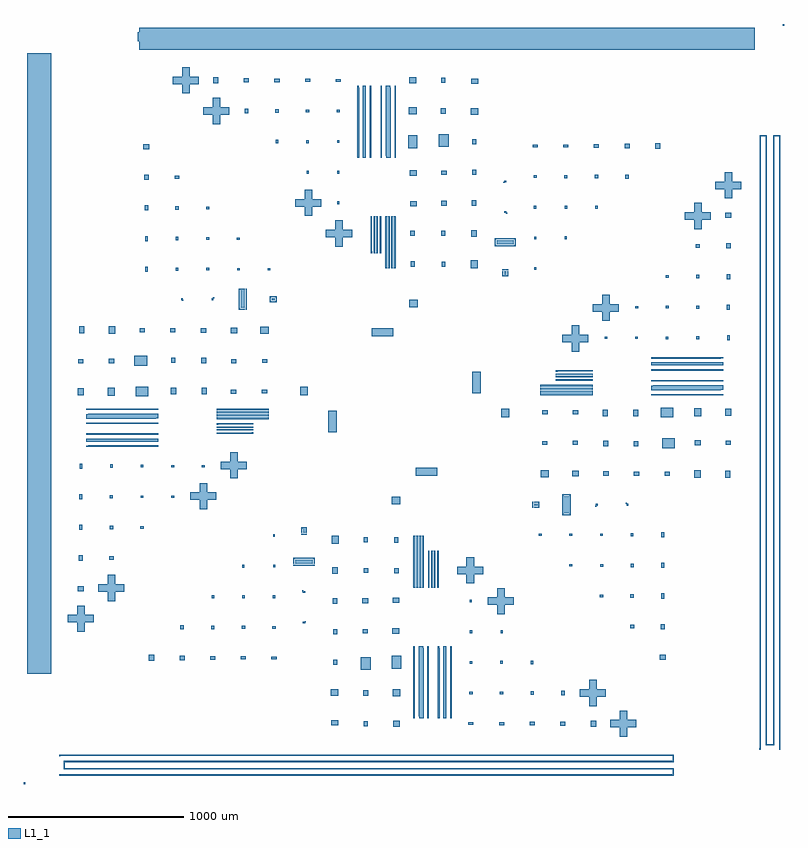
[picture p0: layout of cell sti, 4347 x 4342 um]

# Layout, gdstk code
import gdstk
lib = gdstk.Library(unit=1e-6, precision=1e-09)
def R(c, l, rs):  # rectangles x0, y0, x1, y1
    for r in rs: c.add(gdstk.rectangle(r[:2], r[2:], *l))
def A(c, l, x, y, w, h, nx, ny, dx, dy):  # array of equal rectangles
    R(c, l, [(x+i*dx, y+j*dy, x+i*dx+w, y+j*dy+h) for i in range(nx) for j in range(ny)])
def P(c, l, *ps):  # polygons
    for p in ps: c.add(gdstk.Polygon(p, *l))
L1_1 = (1, 1)

sti = lib.new_cell('sti')
A(sti, L1_1, 2244.5, 355.5, 14, 15, 1, 25, 0, 16)
A(sti, L1_1, 2280.5, 355.5, 7, 15, 1, 25, 0, 16)
A(sti, L1_1, 2340.5, 355.5, 9.5, 15, 1, 25, 0, 16)
A(sti, L1_1, 2371.5, 355.5, 8, 15, 1, 25, 0, 16)
A(sti, L1_1, 2200.5, 367.5, 7, 15, 1, 25, 0, 16)
A(sti, L1_1, 2229.5, 367.5, 14, 15, 1, 25, 0, 16)
A(sti, L1_1, 2380.5, 367.5, 8, 15, 1, 25, 0, 16)
A(sti, L1_1, 2410, 367.5, 9.5, 15, 1, 25, 0, 16)
A(sti, L1_1, 2200.5, 1100.5, 10.5, 11, 1, 25, 0, 12)
A(sti, L1_1, 2216.5, 1100.5, 11, 11, 1, 25, 0, 12)
A(sti, L1_1, 2233.5, 1100.5, 11, 11, 1, 25, 0, 12)
A(sti, L1_1, 2250, 1100.5, 10.5, 11, 1, 25, 0, 12)
A(sti, L1_1, 2317, 1100.5, 8, 7, 1, 25, 0, 8)
A(sti, L1_1, 2337, 1100.5, 7, 7, 1, 25, 0, 8)
A(sti, L1_1, 2284, 1112.5, 7, 7, 1, 25, 0, 8)
A(sti, L1_1, 2303, 1112.5, 8, 7, 1, 25, 0, 8)
A(sti, L1_1, 342.5, 1905.5, 15, 9.5, 25, 1, 16, 0)
A(sti, L1_1, 342.5, 1936.5, 15, 8, 25, 1, 16, 0)
A(sti, L1_1, 330.5, 1945.5, 15, 8, 25, 1, 16, 0)
A(sti, L1_1, 330.5, 1975, 15, 9.5, 25, 1, 16, 0)
A(sti, L1_1, 1075.5, 1981, 7, 7, 25, 1, 8, 0)
A(sti, L1_1, 1075.5, 2000, 7, 8, 25, 1, 8, 0)
A(sti, L1_1, 1087.5, 2014, 7, 8, 25, 1, 8, 0)
A(sti, L1_1, 1087.5, 2034, 7, 7, 25, 1, 8, 0)
A(sti, L1_1, 330.5, 2037.5, 15, 7, 25, 1, 16, 0)
A(sti, L1_1, 1075.5, 2064.5, 11, 10.5, 25, 2, 12, 49.5)
A(sti, L1_1, 330.5, 2066.5, 15, 14, 25, 1, 16, 0)
A(sti, L1_1, 1075.5, 2080.5, 11, 11, 25, 2, 12, 17)
A(sti, L1_1, 342.5, 2081.5, 15, 14, 25, 1, 16, 0)
A(sti, L1_1, 342.5, 2117.5, 15, 7, 25, 1, 16, 0)
A(sti, L1_1, 2925.5, 2200.5, 11, 10.5, 25, 2, 12, 49.5)
A(sti, L1_1, 3558.5, 2200.5, 15, 7, 25, 1, 16, 0)
A(sti, L1_1, 2925.5, 2216.5, 11, 11, 25, 2, 12, 17)
A(sti, L1_1, 3558.5, 2229.5, 15, 14, 25, 1, 16, 0)
A(sti, L1_1, 3570.5, 2244.5, 15, 14, 25, 1, 16, 0)
A(sti, L1_1, 3570.5, 2280.5, 15, 7, 25, 1, 16, 0)
A(sti, L1_1, 3013.5, 2284, 7, 7, 25, 1, 8, 0)
A(sti, L1_1, 3013.5, 2303, 7, 8, 25, 1, 8, 0)
A(sti, L1_1, 3025.5, 2317, 7, 8, 25, 1, 8, 0)
A(sti, L1_1, 3025.5, 2337, 7, 7, 25, 1, 8, 0)
A(sti, L1_1, 3570.5, 2340.5, 15, 9.5, 25, 1, 16, 0)
A(sti, L1_1, 3570.5, 2371.5, 15, 8, 25, 1, 16, 0)
A(sti, L1_1, 3558.5, 2380.5, 15, 8, 25, 1, 16, 0)
A(sti, L1_1, 3558.5, 2410, 15, 9.5, 25, 1, 16, 0)
A(sti, L1_1, 2039.5, 2925.5, 10.5, 11, 1, 25, 0, 12)
A(sti, L1_1, 2055.5, 2925.5, 11, 11, 1, 25, 0, 12)
A(sti, L1_1, 2072.5, 2925.5, 11, 11, 1, 25, 0, 12)
A(sti, L1_1, 2089, 2925.5, 10.5, 11, 1, 25, 0, 12)
A(sti, L1_1, 1989, 3013.5, 8, 7, 1, 25, 0, 8)
A(sti, L1_1, 2009, 3013.5, 7, 7, 1, 25, 0, 8)
A(sti, L1_1, 1956, 3025.5, 7, 7, 1, 25, 0, 8)
A(sti, L1_1, 1975, 3025.5, 8, 7, 1, 25, 0, 8)
A(sti, L1_1, 1880.5, 3558.5, 9.5, 15, 1, 25, 0, 16)
A(sti, L1_1, 1911.5, 3558.5, 8, 15, 1, 25, 0, 16)
A(sti, L1_1, 2056.5, 3558.5, 14, 15, 1, 25, 0, 16)
A(sti, L1_1, 2092.5, 3558.5, 7, 15, 1, 25, 0, 16)
A(sti, L1_1, 1920.5, 3570.5, 8, 15, 1, 25, 0, 16)
A(sti, L1_1, 1950, 3570.5, 9.5, 15, 1, 25, 0, 16)
A(sti, L1_1, 2012.5, 3570.5, 7, 15, 1, 25, 0, 16)
A(sti, L1_1, 2041.5, 3570.5, 14, 15, 1, 25, 0, 16)
R(sti, L1_1, [(-27,-20,-17,-10), (2084.5,308,2123.5,342), (3214.5,308,3243.5,342), (1917,311,1940,339), (3039.5,313,3068.5,337), (1730.5,315.5,1769.5,344.5), (2864.5,315.5,2893.5,334.5), (2689.5,317,2718.5,333.5), (2514.5,318,2543.5,333), (2200.5,355.5,2207.5,366.5), (2232.5,355.5,2243.5,366.5), (2380.5,355.5,2388.5,366.5), (2411.5,355.5,2419.5,366.5), (2081.5,480,2126.5,520), (1915,484,1942.5,516.5), (1728.5,484.5,1771.5,521.5), (3044.5,488,3063.5,512), (2869.5,490.5,2888.5,509.5), (2694.5,491.5,2713.5,508), (2519.5,492.5,2538.5,507.5), (-6.5,608.5,131.5,4154.5), (1899,631.5,1955.5,704.5), (2076.5,639.5,2129.5,711.5), (1742,661,1764,689), (2872,665.5,2886,684.5), (2697,666.5,2711,683), (2522,667.5,2536,682.5), (689.5,683,718.5,717), (864.5,688,893.5,712), (3608,689.5,3642,718.5), (1039.5,690.5,1068.5,709.5), (1214.5,692,1243.5,708.5), (1389.5,693,1418.5,708), (2244.5,755.5,2255.5,766.5), (2280.5,755.5,2287.5,766.5), (2340.5,755.5,2348.5,766.5), (2371.5,755.5,2379.5,766.5), (1742,835,1765,864.5), (2080.5,839.5,2119.5,870), (1910.5,841.5,1939.5,864.5), (2698.5,841.5,2710,858), (2523.5,842.5,2535,858), (869.5,863,888.5,887), (3613,864.5,3637,893.5), (1044.5,865.5,1063.5,884.5), (1219.5,866.5,1238.5,883), (1394.5,867.5,1413.5,882.5), (3438,869.5,3462,888.5), (1740.5,1009,1766,1041), (1908.5,1012.5,1941.5,1041.5), (2082,1015,2118,1043.5), (2523.5,1017,2534,1033), (3615.5,1039.5,3634.5,1068.5), (1047,1040.5,1061,1059.5), (1222,1041.5,1236,1058), (1397,1042.5,1411,1057.5), (3440.5,1044.5,3459.5,1063.5), (3265.5,1047,3284.5,1061), (283,1081.5,317,1110.5), (2284,1100.5,2292,1111.5), (2303,1100.5,2311,1111.5), (1738,1181.5,1768.5,1218.5), (2092,1183,2116.5,1214), (1917,1185.5,1941.5,1214), (3616.5,1214.5,3633,1243.5), (1223.5,1216.5,1235,1233), (1398.5,1217.5,1410,1233), (3442,1219.5,3458.5,1238.5), (3267,1222,3283.5,1236), (3092,1223.5,3108.5,1235), (1514.5,1227,1635.5,1233), (1514.5,1237,1520.5,1263), (1629.5,1237,1635.5,1263), (1525.5,1238,1624.5,1262), (288,1256.5,312,1285.5), (463,1261.5,487,1280.5), (1514.5,1267,1635.5,1273), (2317,1300.5,2325,1311.5), (2336,1300.5,2344,1311.5), (1733,1351.5,1773.5,1398.5), (2092,1358,2114,1389), (1917,1360.5,1939,1389), (3617,1389.5,3632,1418.5), (1398.5,1392.5,1409,1408), (3442.5,1394.5,3457.5,1413.5), (3267.5,1397,3282.5,1411), (2917,1398.5,2932.5,1409), (3092,1398.5,3107.5,1410), (1558.5,1404.5,1592,1410.5), (1558.5,1414.5,1564.5,1435.5), (1586,1414.5,1592,1435.5), (1569.5,1415.5,1581,1434.5), (290.5,1431.5,309.5,1460.5), (465.5,1436.5,484.5,1455.5), (640.5,1439,659.5,1453), (1558.5,1439.5,1592,1445.5), (3052,1514.5,3058,1635.5), (3062,1514.5,3088,1520.5), (3092,1514.5,3098,1635.5), (3063,1525.5,3087,1624.5), (2879.5,1558.5,2885.5,1592), (2889.5,1558.5,2910.5,1564.5), (2914.5,1558.5,2920.5,1592), (2890.5,1569.5,2909.5,1581), (2076,1578.5,2124,1621.5), (2889.5,1586,2910.5,1592), (292,1606.5,308.5,1635.5), (466.5,1611.5,483,1630.5), (641.5,1614,658,1628), (816.5,1615,833,1626.5), (3062,1629.5,3088,1635.5), (3803.5,1728.5,3840.5,1771.5), (3980.5,1730.5,4009.5,1769.5), (2926.5,1733,2973.5,1773.5), (3106.5,1738,3143.5,1768.5), (2213.5,1740,2336.5,1788), (3284,1740.5,3316,1766), (3460.5,1742,3490,1765), (3636,1742,3664,1764), (293,1781.5,308,1810.5), (467.5,1786.5,482.5,1805.5), (642.5,1789,657.5,1803), (817.5,1790,833,1801.5), (992,1791,1008,1801.5), (3620.5,1899,3693.5,1955.5), (330.5,1905.5,341.5,1913.5), (3283.5,1908.5,3312.5,1941.5), (3460.5,1910.5,3483.5,1939.5), (3808.5,1915,3841,1942.5), (2936,1917,2964.5,1939), (3111,1917,3139.5,1941.5), (3986,1917,4014,1940), (330.5,1936.5,341.5,1944.5), (730.5,1945.5,741.5,1953.5), (730.5,1976.5,741.5,1984.5), (1275.5,1981,1286.5,1989), (1715,1988.5,1763,2111.5), (1275.5,2000,1286.5,2008), (1075.5,2014,1086.5,2022), (1075.5,2033,1086.5,2041), (730.5,2037.5,741.5,2044.5), (730.5,2069.5,741.5,2080.5), (2703.5,2076,2746.5,2124), (3613.5,2076.5,3685.5,2129.5), (3455,2080.5,3485.5,2119.5), (330.5,2081.5,341.5,2092.5), (3805,2081.5,3845,2126.5), (3281.5,2082,3310,2118), (3983,2084.5,4017,2123.5), (2936,2092,2967,2114), (3111,2092,3142,2116.5), (330.5,2117.5,341.5,2124.5), (614.5,2195.5,686.5,2248.5), (455,2198.5,495,2243.5), (3958.5,2200.5,3969.5,2207.5), (1553.5,2201,1596.5,2249), (283,2201.5,317,2240.5), (814.5,2205.5,845,2244.5), (990,2207,1018.5,2243), (1158,2208.5,1189,2233), (1333,2211,1364,2233), (2537,2213.5,2585,2336.5), (3958.5,2232.5,3969.5,2243.5), (3558.5,2244.5,3569.5,2255.5), (3558.5,2280.5,3569.5,2287.5), (3213.5,2284,3224.5,2292), (3213.5,2303,3224.5,2311), (3013.5,2317,3024.5,2325), (3013.5,2336,3024.5,2344), (3558.5,2340.5,3569.5,2348.5), (606.5,2369.5,679.5,2426), (3558.5,2371.5,3569.5,2379.5), (3958.5,2380.5,3969.5,2388.5), (459,2382.5,491.5,2410), (987.5,2383.5,1016.5,2416.5), (1160.5,2383.5,1189,2408), (286,2385,314,2408), (816.5,2385.5,839.5,2414.5), (1335.5,2386,1364,2408), (3958.5,2411.5,3969.5,2419.5), (3992,2514.5,4007,2543.5), (3817.5,2519.5,3832.5,2538.5), (3642.5,2522,3657.5,2536), (3292,2523.5,3308,2534), (3467,2523.5,3482.5,2535), (1963.5,2537,2086.5,2585), (1326.5,2551.5,1373.5,2592), (459.5,2553.5,496.5,2596.5), (290.5,2555.5,319.5,2594.5), (1156.5,2556.5,1193.5,2587), (984,2559,1016,2584.5), (810,2560,839.5,2583), (636,2561,664,2583), (1202,2689.5,1208,2810.5), (1212,2689.5,1238,2695.5), (1242,2689.5,1248,2810.5), (3991.5,2689.5,4008,2718.5), (3817,2694.5,3833.5,2713.5), (3642,2697,3658.5,2711), (3467,2698.5,3483.5,2710), (1213,2700.5,1237,2799.5), (2176,2703.5,2224,2746.5), (1379.5,2733,1385.5,2766.5), (1389.5,2733,1410.5,2739), (1414.5,2733,1420.5,2766.5), (1390.5,2744,1409.5,2755.5), (1389.5,2760.5,1410.5,2766.5), (1212,2804.5,1238,2810.5), (3990.5,2864.5,4009.5,2893.5), (3815.5,2869.5,3834.5,2888.5), (3640.5,2872,3659.5,2886), (2708,2879.5,2741.5,2885.5), (2708,2889.5,2714,2910.5), (2735.5,2889.5,2741.5,2910.5), (2719,2890.5,2730.5,2909.5), (668,2906.5,683,2935.5), (842.5,2911.5,857.5,2930.5), (1017.5,2914,1032.5,2928), (2708,2914.5,2741.5,2920.5), (1192.5,2915,1208,2926.5), (1367.5,2916,1383,2926.5), (2891,2917,2901.5,2932.5), (2526.5,2926.5,2567,2973.5), (2186,2936,2208,2967), (2361,2936,2383,2964.5), (1956,3013.5,1964,3024.5), (1975,3013.5,1983,3024.5), (3988,3039.5,4012,3068.5), (3813,3044.5,3837,3063.5), (2664.5,3052,2785.5,3058), (2664.5,3062,2670.5,3088), (2779.5,3062,2785.5,3088), (2675.5,3063,2774.5,3087), (667,3081.5,683.5,3110.5), (841.5,3086.5,858,3105.5), (1016.5,3089,1033,3103), (1191.5,3090,1208,3101.5), (2664.5,3092,2785.5,3098), (2890,3092,2901.5,3107.5), (3065,3092,3076.5,3108.5), (2531.5,3106.5,2562,3143.5), (2183.5,3111,2208,3142), (2358.5,3111,2383,3139.5), (1989,3213.5,1997,3224.5), (2008,3213.5,2016,3224.5), (3983,3214.5,4017,3243.5), (665.5,3256.5,684.5,3285.5), (840.5,3261.5,859.5,3280.5), (1015.5,3264,1034.5,3278), (3239,3265.5,3253,3284.5), (3064,3267,3078,3283.5), (2889,3267.5,2903,3282.5), (2182,3281.5,2218,3310), (2358.5,3283.5,2391.5,3312.5), (2534,3284,2559.5,3316), (1766,3292,1776.5,3308), (663,3431.5,687,3460.5), (838,3436.5,862,3455.5), (3411.5,3438,3430.5,3462), (3236.5,3440.5,3255.5,3459.5), (3061.5,3442,3080.5,3458.5), (2886.5,3442.5,2905.5,3457.5), (2180.5,3455,2219.5,3485.5), (2360.5,3460.5,2389.5,3483.5), (2535,3460.5,2558,3490), (1590,3467,1601.5,3483.5), (1765,3467,1776.5,3482.5), (1920.5,3558.5,1928.5,3569.5), (1951.5,3558.5,1959.5,3569.5), (2012.5,3558.5,2019.5,3569.5), (2044.5,3558.5,2055.5,3569.5), (658,3606.5,692,3635.5), (3581.5,3608,3610.5,3642), (3406.5,3613,3435.5,3637), (2170.5,3613.5,2223.5,3685.5), (3231.5,3615.5,3260.5,3634.5), (3056.5,3616.5,3085.5,3633), (2881.5,3617,2910.5,3632), (2344.5,3620.5,2401,3693.5), (2536,3636,2558,3664), (1414,3640.5,1428,3659.5), (1589,3642,1603,3658.5), (1764,3642.5,1778,3657.5), (2528.5,3803.5,2571.5,3840.5), (2173.5,3805,2218.5,3845), (2357.5,3808.5,2385,3841), (1236.5,3813,1255.5,3837), (1411.5,3815.5,1430.5,3834.5), (1586.5,3817,1605.5,3833.5), (1761.5,3817.5,1780.5,3832.5), (1880.5,3958.5,1888.5,3969.5), (1911.5,3958.5,1919.5,3969.5), (2056.5,3958.5,2067.5,3969.5), (2092.5,3958.5,2099.5,3969.5), (2530.5,3980.5,2569.5,4009.5), (1056.5,3983,1085.5,4017), (2176.5,3983,2215.5,4017), (2360,3986,2383,4014), (1231.5,3988,1260.5,4012), (1406.5,3990.5,1435.5,4009.5), (1581.5,3991.5,1610.5,4008), (1756.5,3992,1785.5,4007), (4310,4312,4320,4322)])
P(sti, L1_1, [(633.5,4173.5),(4149.5,4173.5),(4149.5,4301.5),(633.5,4301.5),(633.5,4275.5),(626,4275.5),(626,4224.5),(633.5,4224.5)],
  [(2731,3239),(2735.5,3239),(2735.5,3243.5),(2735,3243.5),(2735,3244),(2734.5,3244),(2734.5,3244.5),(2734,3244.5),(2734,3245),(2733.5,3245),(2733.5,3245.5),(2733,3245.5),(2733,3246),(2732.5,3246),(2732.5,3246.5),(2732,3246.5),(2732,3247),(2731.5,3247),(2731.5,3252),(2718.5,3252),(2718.5,3243),(2727.5,3243),(2727.5,3242.5),(2728,3242.5),(2728,3242),(2728.5,3242),(2728.5,3241.5),(2729,3241.5),(2729,3241),(2729.5,3241),(2729.5,3240.5),(2730,3240.5),(2730,3240),(2730.5,3240),(2730.5,3239.5),(2731,3239.5)],
  [(2714.5,3414),(2719,3414),(2719,3414.5),(2719.5,3414.5),(2719.5,3415),(2720,3415),(2720,3415.5),(2720.5,3415.5),(2720.5,3416),(2721,3416),(2721,3416.5),(2721.5,3416.5),(2721.5,3417),(2722,3417),(2722,3417.5),(2722.5,3417.5),(2722.5,3418),(2731.5,3418),(2731.5,3427),(2718.5,3427),(2718.5,3422),(2718,3422),(2718,3421.5),(2717.5,3421.5),(2717.5,3421),(2717,3421),(2717,3420.5),(2716.5,3420.5),(2716.5,3420),(2716,3420),(2716,3419.5),(2715.5,3419.5),(2715.5,3419),(2715,3419),(2715,3418),(2714.5,3418)],
  [(1753.5,3050.5),(1796.5,3050.5),(1796.5,3103.5),(1849.5,3103.5),(1849.5,3146.5),(1796.5,3146.5),(1796.5,3199.5),(1753.5,3199.5),(1753.5,3146.5),(1700.5,3146.5),(1700.5,3103.5),(1753.5,3103.5)],
  [(1578.5,3225.5),(1621.5,3225.5),(1621.5,3278.5),(1674.5,3278.5),(1674.5,3321.5),(1621.5,3321.5),(1621.5,3374.5),(1578.5,3374.5),(1578.5,3321.5),(1525.5,3321.5),(1525.5,3278.5),(1578.5,3278.5)],
  [(1053.5,3750.5),(1096.5,3750.5),(1096.5,3803.5),(1149.5,3803.5),(1149.5,3846.5),(1096.5,3846.5),(1096.5,3899.5),(1053.5,3899.5),(1053.5,3846.5),(1000.5,3846.5),(1000.5,3803.5),(1053.5,3803.5)],
  [(878.5,3925.5),(921.5,3925.5),(921.5,3978.5),(974.5,3978.5),(974.5,4021.5),(921.5,4021.5),(921.5,4074.5),(878.5,4074.5),(878.5,4021.5),(825.5,4021.5),(825.5,3978.5),(878.5,3978.5)],
  [(1061,2756),(1061,2760.5),(1056.5,2760.5),(1056.5,2760),(1056,2760),(1056,2759.5),(1055.5,2759.5),(1055.5,2759),(1055,2759),(1055,2758.5),(1054.5,2758.5),(1054.5,2758),(1054,2758),(1054,2757.5),(1053.5,2757.5),(1053.5,2757),(1053,2757),(1053,2756.5),(1048,2756.5),(1048,2743.5),(1057,2743.5),(1057,2752.5),(1057.5,2752.5),(1057.5,2753),(1058,2753),(1058,2753.5),(1058.5,2753.5),(1058.5,2754),(1059,2754),(1059,2754.5),(1059.5,2754.5),(1059.5,2755),(1060,2755),(1060,2755.5),(1060.5,2755.5),(1060.5,2756)],
  [(886,2739.5),(886,2744),(885.5,2744),(885.5,2744.5),(885,2744.5),(885,2745),(884.5,2745),(884.5,2745.5),(884,2745.5),(884,2746),(883.5,2746),(883.5,2746.5),(883,2746.5),(883,2747),(882.5,2747),(882.5,2747.5),(882,2747.5),(882,2756.5),(873,2756.5),(873,2743.5),(878,2743.5),(878,2743),(878.5,2743),(878.5,2742.5),(879,2742.5),(879,2742),(879.5,2742),(879.5,2741.5),(880,2741.5),(880,2741),(880.5,2741),(880.5,2740.5),(881,2740.5),(881,2740),(882,2740),(882,2739.5)],
  [(1249.5,1778.5),(1249.5,1821.5),(1196.5,1821.5),(1196.5,1874.5),(1153.5,1874.5),(1153.5,1821.5),(1100.5,1821.5),(1100.5,1778.5),(1153.5,1778.5),(1153.5,1725.5),(1196.5,1725.5),(1196.5,1778.5)],
  [(1074.5,1603.5),(1074.5,1646.5),(1021.5,1646.5),(1021.5,1699.5),(978.5,1699.5),(978.5,1646.5),(925.5,1646.5),(925.5,1603.5),(978.5,1603.5),(978.5,1550.5),(1021.5,1550.5),(1021.5,1603.5)],
  [(549.5,1078.5),(549.5,1121.5),(496.5,1121.5),(496.5,1174.5),(453.5,1174.5),(453.5,1121.5),(400.5,1121.5),(400.5,1078.5),(453.5,1078.5),(453.5,1025.5),(496.5,1025.5),(496.5,1078.5)],
  [(374.5,903.5),(374.5,946.5),(321.5,946.5),(321.5,999.5),(278.5,999.5),(278.5,946.5),(225.5,946.5),(225.5,903.5),(278.5,903.5),(278.5,850.5),(321.5,850.5),(321.5,903.5)],
  [(3239,1569),(3239,1564.5),(3243.5,1564.5),(3243.5,1565),(3244,1565),(3244,1565.5),(3244.5,1565.5),(3244.5,1566),(3245,1566),(3245,1566.5),(3245.5,1566.5),(3245.5,1567),(3246,1567),(3246,1567.5),(3246.5,1567.5),(3246.5,1568),(3247,1568),(3247,1568.5),(3252,1568.5),(3252,1581.5),(3243,1581.5),(3243,1572.5),(3242.5,1572.5),(3242.5,1572),(3242,1572),(3242,1571.5),(3241.5,1571.5),(3241.5,1571),(3241,1571),(3241,1570.5),(3240.5,1570.5),(3240.5,1570),(3240,1570),(3240,1569.5),(3239.5,1569.5),(3239.5,1569)],
  [(3414,1585.5),(3414,1581),(3414.5,1581),(3414.5,1580.5),(3415,1580.5),(3415,1580),(3415.5,1580),(3415.5,1579.5),(3416,1579.5),(3416,1579),(3416.5,1579),(3416.5,1578.5),(3417,1578.5),(3417,1578),(3417.5,1578),(3417.5,1577.5),(3418,1577.5),(3418,1568.5),(3427,1568.5),(3427,1581.5),(3422,1581.5),(3422,1582),(3421.5,1582),(3421.5,1582.5),(3421,1582.5),(3421,1583),(3420.5,1583),(3420.5,1583.5),(3420,1583.5),(3420,1584),(3419.5,1584),(3419.5,1584.5),(3419,1584.5),(3419,1585),(3418,1585),(3418,1585.5)],
  [(3050.5,2546.5),(3050.5,2503.5),(3103.5,2503.5),(3103.5,2450.5),(3146.5,2450.5),(3146.5,2503.5),(3199.5,2503.5),(3199.5,2546.5),(3146.5,2546.5),(3146.5,2599.5),(3103.5,2599.5),(3103.5,2546.5)],
  [(3225.5,2721.5),(3225.5,2678.5),(3278.5,2678.5),(3278.5,2625.5),(3321.5,2625.5),(3321.5,2678.5),(3374.5,2678.5),(3374.5,2721.5),(3321.5,2721.5),(3321.5,2774.5),(3278.5,2774.5),(3278.5,2721.5)],
  [(3750.5,3246.5),(3750.5,3203.5),(3803.5,3203.5),(3803.5,3150.5),(3846.5,3150.5),(3846.5,3203.5),(3899.5,3203.5),(3899.5,3246.5),(3846.5,3246.5),(3846.5,3299.5),(3803.5,3299.5),(3803.5,3246.5)],
  [(3925.5,3421.5),(3925.5,3378.5),(3978.5,3378.5),(3978.5,3325.5),(4021.5,3325.5),(4021.5,3378.5),(4074.5,3378.5),(4074.5,3421.5),(4021.5,3421.5),(4021.5,3474.5),(3978.5,3474.5),(3978.5,3421.5)],
  [(184,147.5),(176,147.5),(176,139.5),(184,139.5),(184,140.5),(3680.5,140.5),(3680.5,111.5),(201.5,111.5),(201.5,63.5),(3680.5,63.5),(3680.5,34.5),(184,34.5),(184,35.5),(176,35.5),(176,27.5),(184,27.5),(184,28.5),(3686.5,28.5),(3686.5,69.5),(207.5,69.5),(207.5,105.5),(3686.5,105.5),(3686.5,146.5),(184,146.5)],
  [(1569,1086),(1564.5,1086),(1564.5,1081.5),(1565,1081.5),(1565,1081),(1565.5,1081),(1565.5,1080.5),(1566,1080.5),(1566,1080),(1566.5,1080),(1566.5,1079.5),(1567,1079.5),(1567,1079),(1567.5,1079),(1567.5,1078.5),(1568,1078.5),(1568,1078),(1568.5,1078),(1568.5,1073),(1581.5,1073),(1581.5,1082),(1572.5,1082),(1572.5,1082.5),(1572,1082.5),(1572,1083),(1571.5,1083),(1571.5,1083.5),(1571,1083.5),(1571,1084),(1570.5,1084),(1570.5,1084.5),(1570,1084.5),(1570,1085),(1569.5,1085),(1569.5,1085.5),(1569,1085.5)],
  [(1585.5,911),(1581,911),(1581,910.5),(1580.5,910.5),(1580.5,910),(1580,910),(1580,909.5),(1579.5,909.5),(1579.5,909),(1579,909),(1579,908.5),(1578.5,908.5),(1578.5,908),(1578,908),(1578,907.5),(1577.5,907.5),(1577.5,907),(1568.5,907),(1568.5,898),(1581.5,898),(1581.5,903),(1582,903),(1582,903.5),(1582.5,903.5),(1582.5,904),(1583,904),(1583,904.5),(1583.5,904.5),(1583.5,905),(1584,905),(1584,905.5),(1584.5,905.5),(1584.5,906),(1585,906),(1585,907),(1585.5,907)],
  [(2546.5,1274.5),(2503.5,1274.5),(2503.5,1221.5),(2450.5,1221.5),(2450.5,1178.5),(2503.5,1178.5),(2503.5,1125.5),(2546.5,1125.5),(2546.5,1178.5),(2599.5,1178.5),(2599.5,1221.5),(2546.5,1221.5)],
  [(2721.5,1099.5),(2678.5,1099.5),(2678.5,1046.5),(2625.5,1046.5),(2625.5,1003.5),(2678.5,1003.5),(2678.5,950.5),(2721.5,950.5),(2721.5,1003.5),(2774.5,1003.5),(2774.5,1046.5),(2721.5,1046.5)],
  [(3246.5,574.5),(3203.5,574.5),(3203.5,521.5),(3150.5,521.5),(3150.5,478.5),(3203.5,478.5),(3203.5,425.5),(3246.5,425.5),(3246.5,478.5),(3299.5,478.5),(3299.5,521.5),(3246.5,521.5)],
  [(3421.5,399.5),(3378.5,399.5),(3378.5,346.5),(3325.5,346.5),(3325.5,303.5),(3378.5,303.5),(3378.5,250.5),(3421.5,250.5),(3421.5,303.5),(3474.5,303.5),(3474.5,346.5),(3421.5,346.5)],
  [(4177.5,184),(4177.5,176),(4185.5,176),(4185.5,184),(4184.5,184),(4184.5,3680.5),(4213.5,3680.5),(4213.5,201.5),(4261.5,201.5),(4261.5,3680.5),(4290.5,3680.5),(4290.5,184),(4289.5,184),(4289.5,176),(4297.5,176),(4297.5,184),(4296.5,184),(4296.5,3686.5),(4255.5,3686.5),(4255.5,207.5),(4219.5,207.5),(4219.5,3686.5),(4178.5,3686.5),(4178.5,184)])

lib.write_gds('sti.gds')
